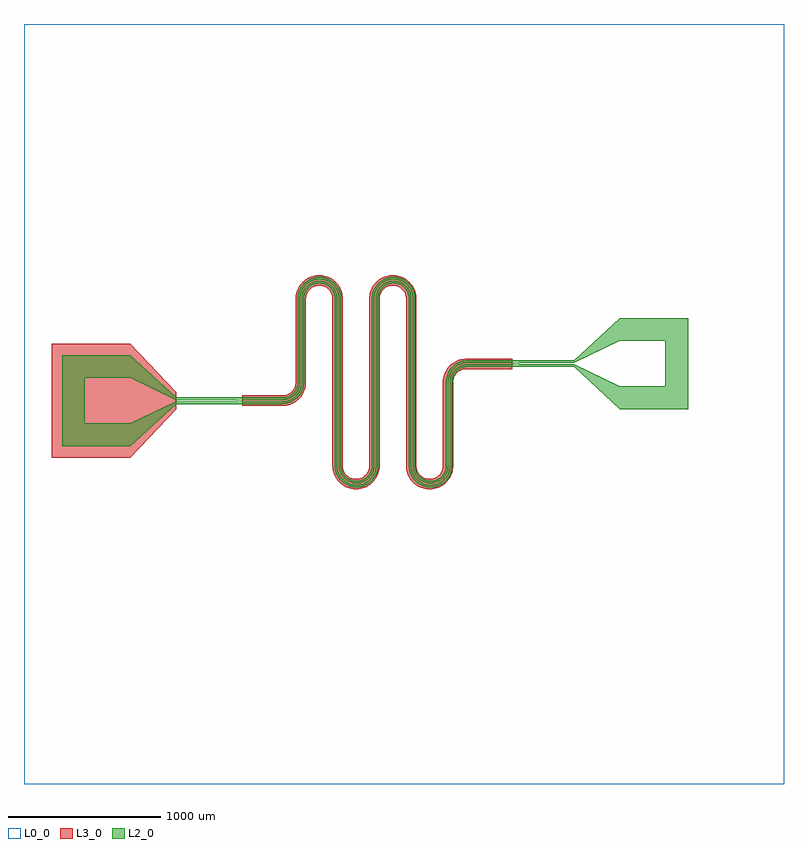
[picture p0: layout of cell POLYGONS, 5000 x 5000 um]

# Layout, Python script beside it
#!/usr/bin/env python
import os
from resgds import *
from interface import Interface
import gdspy # gds library
import numpy as np
from restempfiles import *

# Layout filename
layout_file ='HalfWaveResonator.gds'

# Parameters
###################################################################
sub_x, sub_y = [5000, 5000] # substrate dimensions
coords = lambda x,dx=0: x+dx
x0,y0 = [1000,sub_y/2]

whw, ghw, lhw = [8.11, 17.85, 8108.45] # Cavity width, gap, length
whwtot = 2*ghw+whw

rfeed = 400
rhw = 100

sub_layer = 0
dot_layer = 1
cond_layer = 2
remove_layer = 3

conductor = []
removes = []

# Setup gds cell and gds object
poly_cell = gdspy.Cell('POLYGONS')
rs = Shapes(poly_cell)
rt = ResTempFiles(poly_cell)

# SUBSTRATE
#########################################################################
sub = [rs.rect(sub_x,sub_y,0,0)]

for i in range(0,len(sub)):
	sub = gdspy.Polygon(sub[i],sub_layer)
	poly_cell.add(sub)

# ANTI-DOTS
#########################################################################
layout = LayoutComponents(poly_cell, sub_x, sub_y,layer=dot_layer)
dots = layout.antidot_array(0,0,10,30,0)

# FEEDLINE
#########################################################################
feedwidth = 3000
feedl = 300
bondl = 600
bondh = feedl/2

input_length = 400
lcap = 35

lhw1 = 200

bondpad = rt.feedbond(x0,y0,whw,ghw,feedlength=feedl,bondlength=bondl,bondh=bondh,orientation='E')
inbond = rt.build(bondpad,poly_cell,input_layer=cond_layer)

feed = rs.straight_trench(input_length, whw, ghw, x0, y0, orientation='H')

x1, y1 = [ coords(x0,input_length), coords(y0) ]
feed += [rs.rect(lcap,whwtot,x1,y1)]
infeed = rt.build(feed,poly_cell,input_layer=cond_layer)

# FEEDLINE REMOVE
##########################################################################
bondr = rt.feedbond_remove(x0,y0,whw,ghw,feedlength=feedl,bondlength=bondl,bondh=bondh,orientation='E')
bondrem = rt.build(bondr,poly_cell,input_layer=remove_layer)
# HALFWAVE RESONATOR
##########################################################################

qwlen,arc = rt.lengths(whw,ghw,rhw,lhw,lin=300,lout=300,no_arcs=4)

# resonator = rt.halfwaveresonator(x1,y1,whw,ghw,rhw,rhw,arc,lcap,qwlen[0],qwlen[1],qwlen[2])

x2, y2 = [ coords(x1,lcap), coords(y1) ]
resonator = rs.straight_trench(qwlen[0], whw, ghw, x1, y1, orientation='H')

x3, y3 = [ coords(x2,qwlen[0]-lcap), coords(y1,rhw+whwtot) ]
resonator += rs.quarterarc_trench(rhw, whw, ghw, x3, y3, orient='SE')

x4, y4 = [ coords(x3,rhw), coords(y3) ]
resonator += rs.straight_trench(qwlen[1]+arc/2, whw, ghw, x4, y4, orientation='V')

x5, y5 = [ coords(x4,rhw+whwtot), coords(y4,qwlen[1]+arc/2) ]
resonator += rs.halfarc_trench(rhw, whw, ghw, x5, y5, orient='N')

x6, y6 = [ coords(x5,rhw), coords(y5) ]
resonator += rs.straight_trench(-qwlen[2], whw, ghw, x6, y6, orientation='V')

x7, y7 = [ coords(x6,rhw+whwtot), coords(y6,-qwlen[2]) ]
resonator += rs.halfarc_trench(rhw, whw, ghw, x7, y7, orient='S')

x8, y8 = [ coords(x7,rhw), coords(y7) ]
resonator += rs.straight_trench(qwlen[2], whw, ghw, x8, y8, orientation='V')

x9, y9 = [ coords(x8,rhw+whwtot), coords(y8,qwlen[2]) ]
resonator += rs.halfarc_trench(rhw, whw, ghw, x9, y9, orient='N')

x10, y10 = [ coords(x9,rhw), coords(y9) ]
resonator += rs.straight_trench(-qwlen[2], whw, ghw, x10, y10, orientation='V')

x11, y11 = [ coords(x10,rhw+whwtot), coords(y10,-qwlen[2]) ]
resonator += rs.halfarc_trench(rhw, whw, ghw, x11, y11, orient='S')

x12, y12 = [ coords(x11,rhw), coords(y11) ]
resonator += rs.straight_trench(qwlen[1]+arc/2, whw, ghw, x12, y12, orientation='V')

x13, y13 = [ coords(x12,rhw+whwtot), coords(y12,qwlen[1]+arc/2) ]
resonator += rs.quarterarc_trench(rhw, whw, ghw, x13, y13, orient='NW')

x14, y14 = [ coords(x13), coords(y13,rhw) ]
resonator += rs.straight_trench(qwlen[0], whw, ghw, x14, y14, orientation='H')

res = rt.build(resonator,poly_cell,input_layer=cond_layer)
# RESONATOR REMOVES
###############################################################################

rm_width = 4*whw + 2*ghw
arcrad = .5*(2*rhw - ghw - whw)

x2r, y2r = [ coords(x2), coords(y1+ghw+whw/2 - rm_width/2) ]
resrem = [rs.rect(qwlen[0]-lcap, rm_width, x2r, y2r)]

x3r, y3r = [ coords(x2r,qwlen[0]-lcap), coords(y2r,arcrad+rm_width) ]
resrem += [rs.quarterarc(arcrad, rm_width, x3r, y3r, orientation='SE')]

x4r, y4r = [ coords(x3r,arcrad), coords(y3r) ]
resrem += [rs.rect(rm_width,qwlen[1]+arc/2, x4r, y4r)]

x5r, y5r = [ coords(x4r,arcrad+rm_width), coords(y4r,qwlen[1]+arc/2) ]
resrem += [rs.halfarc(arcrad, rm_width, x5r, y5r, orientation='N')]

x6r, y6r = [ coords(x5r,arcrad), coords(y5r) ]
resrem += [rs.rect(rm_width,-qwlen[2], x6r, y6r)]

x7r, y7r = [ coords(x6r,arcrad+rm_width), coords(y6r,-qwlen[2]) ]
resrem += [rs.halfarc(arcrad,rm_width, x7r, y7r, orientation='S')]

x8r, y8r = [ coords(x7r,arcrad), coords(y7r) ]
resrem += [rs.rect(rm_width,qwlen[2], x8r, y8r)]

x9r, y9r = [ coords(x8r,arcrad+rm_width), coords(y8r,qwlen[2]) ]
resrem += [rs.halfarc(arcrad,rm_width, x9r, y9r, orientation='N')]

x10r, y10r = [ coords(x9r,arcrad), coords(y9r) ]
resrem += [rs.rect(rm_width,-qwlen[2], x10r, y10r)]

x11r, y11r = [ coords(x10r,arcrad+rm_width), coords(y10r,-qwlen[2]) ]
resrem += [rs.halfarc(arcrad,rm_width, x11r, y11r, orientation='S')]

x12r, y12r = [ coords(x11r,arcrad), coords(y11r) ]
resrem += [rs.rect(rm_width,qwlen[1]+arc/2, x12r, y12r)]

x13r, y13r = [ coords(x12r,arcrad+rm_width), coords(y12r,qwlen[1]+arc/2) ]
resrem += [rs.quarterarc(arcrad, rm_width, x13r, y13r, orientation='NW')]

x14r, y14r = [ coords(x13r), coords(y13r,arcrad) ]
resrem += [rs.rect(qwlen[0],rm_width, x14r, y14r)]

resr = rt.build(resrem,poly_cell,input_layer=remove_layer)

# OUTPUT FEEDLINE
############################################################################
x15, y15 = [ coords(x14,qwlen[0]), coords(y14) ]
feed += [rs.rect(lcap,whwtot,x15,y15)]

x16, y16 = [ coords(x15), coords(y15) ]
feed += rs.straight_trench(input_length, whw, ghw, x16, y16, orientation='H')
infeed = rt.build(feed,poly_cell,input_layer=cond_layer)

bondpad = rt.feedbond(x16+input_length,y16,whw,ghw,feedlength=feedl,bondlength=bondl,bondh=bondh,orientation='W')
inbond = rt.build(bondpad,poly_cell,input_layer=cond_layer)

feed = rs.straight_trench(input_length, whw, ghw, x0, y0, orientation='H')

x1, y1 = [ coords(x0,input_length), coords(y0) ]
feed += [rs.rect(lcap,whwtot,x1,y1)]
infeed = rt.build(feed,poly_cell,input_layer=cond_layer)

# MAKE GDS LAYERS
##########################################################################
# circuit = gdspy.fast_boolean(dots,conductor,'or',
# 	precision=1e-9, max_points=1000, layer=sub_layer)
# poly_cell.add(circuit)

###########################################################################
# Make gds file and open up klayout
inter = Interface()
inter.klayout(layout_file)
